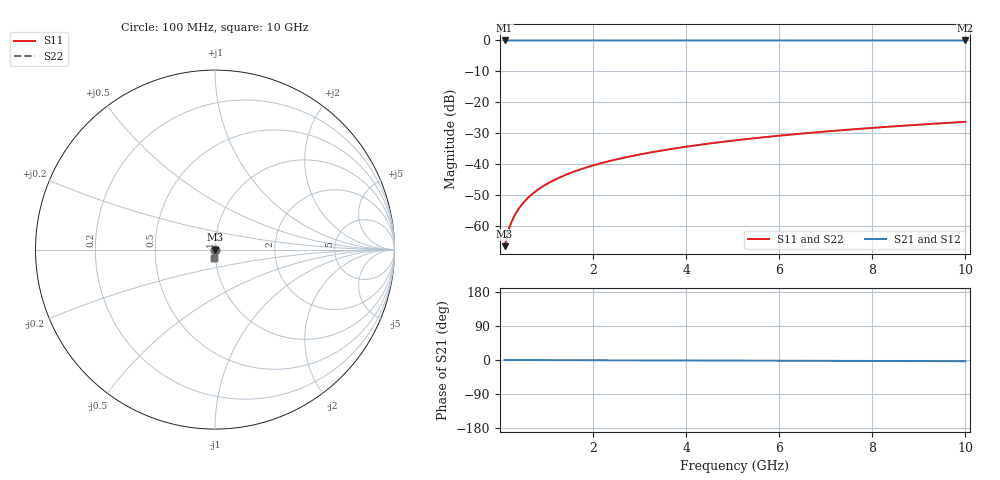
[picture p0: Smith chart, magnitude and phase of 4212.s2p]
# Hz S RI R 50.00
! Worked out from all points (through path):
!   100 points, 100 MHz to 10 GHz, reference 50 ohm
!   highest |S21| = 0.00 dB at 100 MHz (marker M1); lowest = 0.0 dB at 10 GHz (marker M2)
!   lowest |S11| = -66.4 dB at 100 MHz (marker M3), VSWR 1.00, Z = 50 - j0.048 ohm
!   |S11| at or under -10 dB: start of sweep to end of sweep
!   |S22| runs from -66.4 to -26.3 dB; largest |S21 - S12| = 0
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1e8  8.18e-06 -0.00048  1 -0.000557  1 -0.000557  8.18e-06 -0.00048
2e8  6.93e-06 -0.000961  1 -0.00111  1 -0.00111  6.93e-06 -0.000961
3e8  5.13e-06 -0.00144  1 -0.00167  1 -0.00167  5.13e-06 -0.00144
4e8  2.79e-06 -0.00192  1 -0.00223  1 -0.00223  2.79e-06 -0.00192
5e8  -9.32e-08 -0.0024  1 -0.00279  1 -0.00279  -9.32e-08 -0.0024
6e8  -3.52e-06 -0.00288  1 -0.00334  1 -0.00334  -3.52e-06 -0.00288
7e8  -7.48e-06 -0.00336  1 -0.0039  1 -0.0039  -7.48e-06 -0.00336
8e8  -1.2e-05 -0.00384  1 -0.00446  1 -0.00446  -1.2e-05 -0.00384
9e8  -1.7e-05 -0.00433  1 -0.00502  1 -0.00502  -1.7e-05 -0.00433
1.1e9  -2.87e-05 -0.00529  1 -0.00613  1 -0.00613  -2.87e-05 -0.00529
1.4e9  -5.03e-05 -0.00673  0.9999 -0.00781  0.9999 -0.00781  -5.03e-05 -0.00673
1.8e9  -8.67e-05 -0.00866  0.9999 -0.01  0.9999 -0.01  -8.67e-05 -0.00866
2.1e9  -0.00012 -0.0101  0.9999 -0.0117  0.9999 -0.0117  -0.00012 -0.0101
2.5e9  -0.000171 -0.012  0.9998 -0.014  0.9998 -0.014  -0.000171 -0.012
2.9e9  -0.000232 -0.014  0.9997 -0.0162  0.9997 -0.0162  -0.000232 -0.014
3.4e9  -0.00032 -0.0164  0.9997 -0.019  0.9997 -0.019  -0.00032 -0.0164
4.2e9  -0.000489 -0.0203  0.9995 -0.0235  0.9995 -0.0235  -0.000489 -0.0203
5.1e9  -0.000722 -0.0247  0.9992 -0.0286  0.9992 -0.0286  -0.000722 -0.0247
5.9e9  -0.000967 -0.0286  0.999 -0.0331  0.999 -0.0331  -0.000967 -0.0286
6.7e9  -0.00125 -0.0325  0.9987 -0.0377  0.9987 -0.0377  -0.00125 -0.0325
8.4e9  -0.00197 -0.0408  0.998 -0.0473  0.998 -0.0473  -0.00197 -0.0408
1e10  -0.00279 -0.0486  0.9972 -0.0564  0.9972 -0.0564  -0.00279 -0.0486
